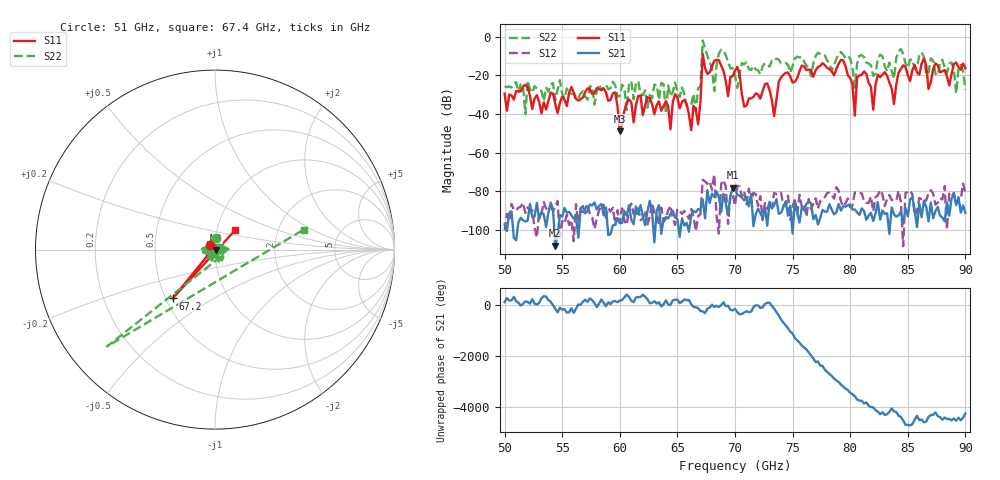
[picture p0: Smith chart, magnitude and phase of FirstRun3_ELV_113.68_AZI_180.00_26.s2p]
! 11/24/2026 3:38:32 PM
! C:\ANRITSUVNA\TEMP\TEMP.S2P
! CHANNEL.1
! TR.MEASUREMENT
! RAW.DATA
# HZ S RI R 50.0
! FREQ.HZ  S11RE  S11IM  S21RE  S21IM  S12RE  S12IM  S22RE  S22IM
!; PortSelection: Port_12
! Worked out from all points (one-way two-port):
!   201 points, 50 GHz to 90 GHz, reference 50 ohm
!   highest |S21| = -78.18 dB at 69.8 GHz (marker M1); lowest = -108.2 dB at 54.4 GHz (marker M2)
!   lowest |S11| = -49.0 dB at 60 GHz (marker M3), VSWR 1.01, Z = 50.3 - j0.153 ohm
!   |S11| at or under -10 dB: start of sweep to 67.19 GHz; 67.23 GHz to end of sweep
!   |S22| runs from -40.0 to -1.9 dB; largest |S21 - S12| = 0.00028
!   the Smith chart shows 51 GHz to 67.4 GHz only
!   S11 on the Smith chart (normalised r, x): 51 GHz: 0.94, +0.05; 67.2 GHz: 0.54, -0.34; 67.4 GHz: 1.22, +0.27
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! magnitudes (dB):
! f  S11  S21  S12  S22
! 50 GHz  -29.4  -97.1  -100.4  -25.6
! 51 GHz  -28.1  -105.4  -89.8  -23.4
! 54.4 GHz  -34.8  -108.2  -87.8  -32.7
! 56.8 GHz  -31.4  -87.6  -92.2  -28.0
! 59.6 GHz  -28.8  -97.4  -97.5  -25.0
! 60 GHz  -49.0  -96.5  -96.3  -30.5
! 63.4 GHz  -33.4  -87.2  -97.6  -32.6
! 66.8 GHz  -45.3  -89.2  -92.9  -26.5
! 67.2 GHz  -8.9  -84.3  -74.0  -1.9
! 67.4 GHz  -16.1  -94.0  -74.9  -5.9
! 68.2 GHz  -12.5  -82.8  -71.3  -28.1
! 68.8 GHz  -14.8  -90.6  -76.0  -6.7
! 69.8 GHz  -20.3  -78.2  -81.5  -16.1
! 70 GHz  -17.5  -78.8  -87.4  -19.9
! 73.4 GHz  -41.0  -87.2  -80.8  -12.6
! 74.2 GHz  -19.7  -88.2  -87.5  -13.5
! 76.8 GHz  -20.6  -94.5  -86.5  -13.6
! 79.4 GHz  -12.2  -87.7  -87.8  -9.4
! 80.4 GHz  -40.8  -89.4  -80.6  -26.2
! 80.6 GHz  -21.0  -90.9  -80.8  -14.0
! 83.4 GHz  -23.7  -102.1  -81.9  -13.3
! 90 GHz  -16.3  -91.1  -80.9  -27.3
